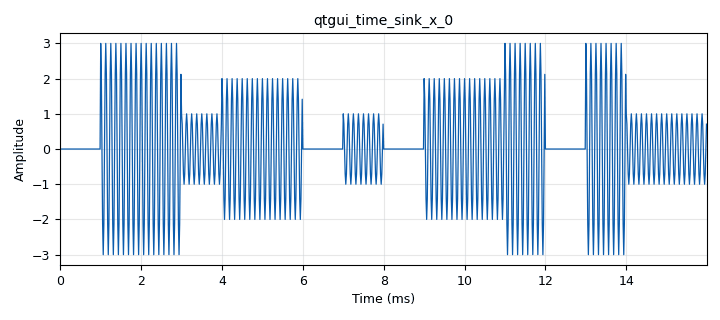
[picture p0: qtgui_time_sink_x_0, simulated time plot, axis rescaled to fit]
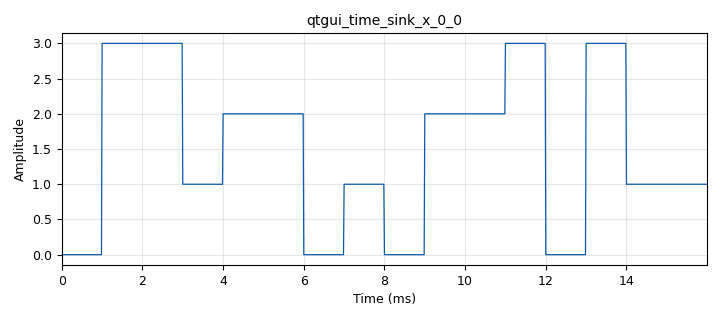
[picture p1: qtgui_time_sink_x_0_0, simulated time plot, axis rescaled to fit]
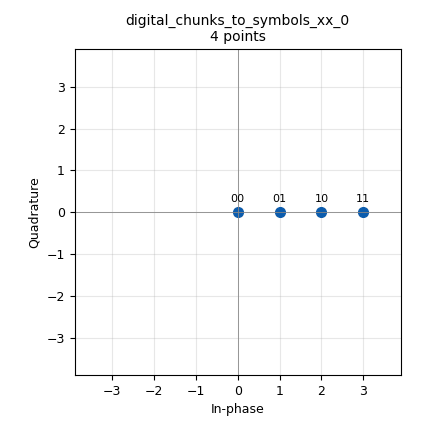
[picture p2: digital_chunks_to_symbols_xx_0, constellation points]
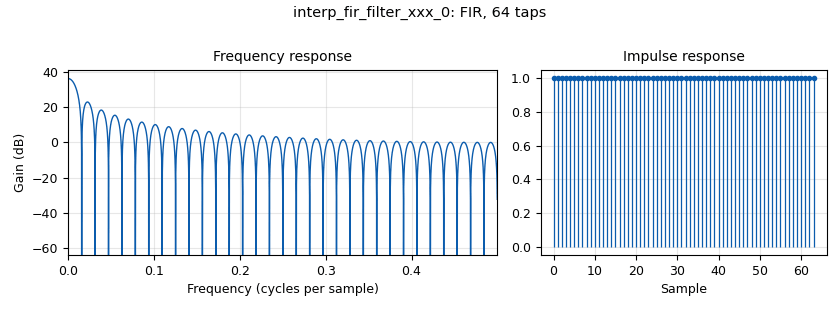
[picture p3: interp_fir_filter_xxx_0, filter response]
options:
  parameters:
    generate_options: qt_gui
    id: praktikum2T4ModulasidigitalASK
    output_language: python
    title: Not titled yet
  states: {}

blocks:
- name: fc
  id: variable
  parameters:
    value: '8000'
  states: {}
- name: interpolation_fac
  id: variable
  parameters:
    value: '64'
  states: {}
- name: samp_rate
  id: variable
  parameters:
    value: '64000'
  states: {}
- name: analog_random_source_x_0
  id: analog_random_source_x
  parameters:
    max: '4'
    min: '0'
    num_samps: '1024'
    repeat: 'True'
    type: int
  states: {}
- name: analog_sig_source_x_0
  id: analog_sig_source_x
  parameters:
    amp: '1'
    freq: '8000'
    offset: '0'
    phase: '0'
    samp_rate: samp_rate
    type: float
    waveform: analog.GR_COS_WAVE
  states: {}
- name: blocks_multiply_xx_0
  id: blocks_multiply_xx
  parameters:
    type: float
  states: {}
- name: blocks_throttle2_0
  id: blocks_throttle2
  parameters:
    samples_per_second: samp_rate
    type: float
  states: {}
- name: digital_chunks_to_symbols_xx_0
  id: digital_chunks_to_symbols_xx
  parameters:
    dimension: '1'
    in_type: int
    out_type: float
    symbol_table: (0, 1, 2, 3)
  states: {}
- name: import_0
  id: import
  parameters:
    imports: import numpy
  states: {}
- name: interp_fir_filter_xxx_0
  id: interp_fir_filter_xxx
  parameters:
    interp: interpolation_fac
    taps: numpy.ones(interpolation_fac)
    type: fff
  states: {}
- name: qtgui_time_sink_x_0
  id: qtgui_time_sink_x
  parameters:
    size: '1024'
    srate: samp_rate
    type: float
  states: {}
- name: qtgui_time_sink_x_0_0
  id: qtgui_time_sink_x
  parameters:
    size: '1024'
    srate: samp_rate
    type: float
  states: {}
- name: virtual_sink_0
  id: virtual_sink
  parameters:
    stream_id: passband
  states: {}
- name: virtual_source_0
  id: virtual_source
  parameters:
    stream_id: passband
  states: {}

connections:
- [analog_random_source_x_0, '0', digital_chunks_to_symbols_xx_0, '0']
- [analog_sig_source_x_0, '0', blocks_multiply_xx_0, '1']
- [blocks_multiply_xx_0, '0', qtgui_time_sink_x_0, '0']
- [blocks_throttle2_0, '0', interp_fir_filter_xxx_0, '0']
- [digital_chunks_to_symbols_xx_0, '0', blocks_throttle2_0, '0']
- [interp_fir_filter_xxx_0, '0', qtgui_time_sink_x_0_0, '0']
- [interp_fir_filter_xxx_0, '0', virtual_sink_0, '0']
- [virtual_source_0, '0', blocks_multiply_xx_0, '0']

metadata:
  file_format: 1
  grc_version: 3.10.12.0
